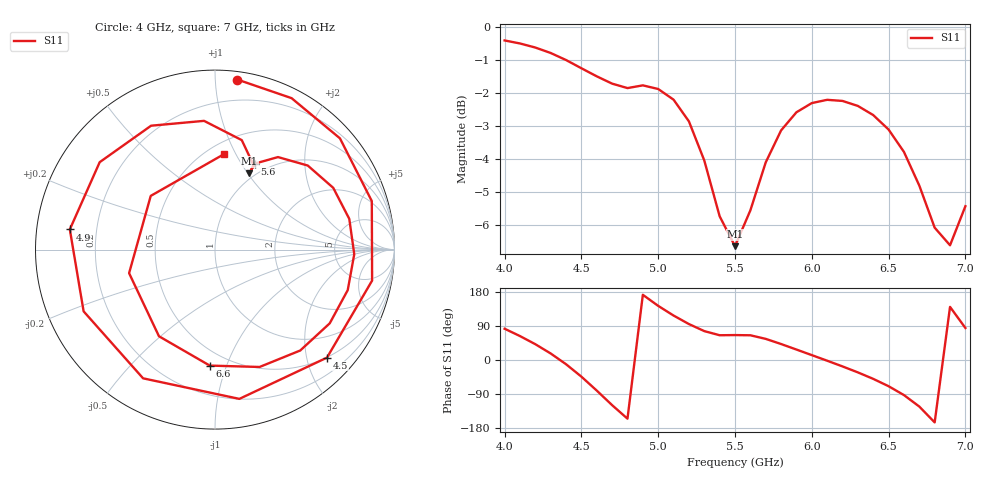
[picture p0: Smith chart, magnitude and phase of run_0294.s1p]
! Touchstone file exported from HFSS 2024.2.0
!  File:  C:/Users/wsak9/Desktop/Sim Fast/Widenad Patch/WP_AI_V1_sweep.aedt
!  Generated:  03:22:49 AM Oct 14, 2026
!  Design:  A1_model
!  Project:  WP_AI_V1_sweep
!  Setup:  Setup1
!  Solution:  Sweep
! Variables:
!  Air_gap = 3.99mm
!  Curve_Amp1 = 2.87
!  Curve_len1 = 1
!  Curve_pos = 10.425mm
!  Extra = 1.95mm
!  H_sub = 0.79mm
!  L_Patch = 16.85mm
!  L_Patch1 = 11.26mm
!  Sx = 0.89mm
!  Sy = 1.07mm
!  WS = 0.97mm
!  W_Patch = 20.02mm
!  W_Patch1 = 9.31mm
!Data is not renormalized
# GHz S MA
! Terminal data exported
! Port[1] = 1
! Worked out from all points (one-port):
!   31 points, 4 GHz to 7 GHz, reference per port
!   lowest |S11| = -6.6 dB at 5.5 GHz (marker M1), VSWR 2.74
!   |S11| at or under -10 dB: nowhere
!   S11 on the Smith chart (normalised r, x): 4 GHz: 0.05, +1.14; 4.5 GHz: 0.49, -2.39; 4.9 GHz: 0.10, +0.07; 5.6 GHz: 0.86, +1.15; 6.6 GHz: 0.39, -0.88; 7 GHz: 0.60, +0.90
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4  0.9555 82.5
4.1  0.9455 63.2
4.2  0.9321 41.7
4.3  0.9145 17.2
4.4  0.8922 -11.2
4.5  0.8669 -44.0
4.6  0.8427 -80.7
4.7  0.8215 -119.2
4.8  0.8088 -154.8
4.9  0.8166 172.1
5  0.8062 142.8
5.1  0.7767 117.3
5.2  0.7198 94.9
5.3  0.6279 76.3
5.4  0.5165 65.3
5.5  0.4652 65.8
5.6  0.5272 65.2
5.7  0.6236 55.8
5.8  0.6975 42.2
5.9  0.7432 27.6
6.1  0.7763 -1.9
6.3  0.7598 -32.7
6.5  0.6995 -69.2
6.6  0.6469 -92.6
6.7  0.575 -122.9
6.8  0.4963 -164.7
6.9  0.4666 140.1
7  0.535 84.5
